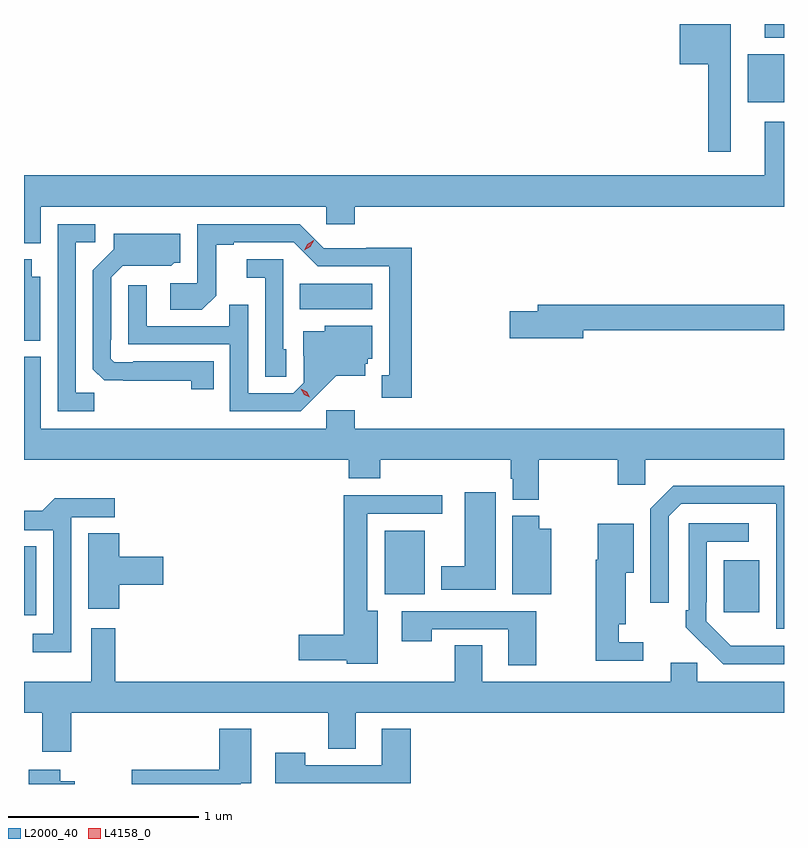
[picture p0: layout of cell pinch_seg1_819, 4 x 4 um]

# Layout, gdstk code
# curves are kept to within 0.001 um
import gdstk
lib = gdstk.Library(unit=1e-6, precision=1e-09)
def R(c, l, rs):  # rectangles x0, y0, x1, y1
    for r in rs: c.add(gdstk.rectangle(r[:2], r[2:], *l))
def P(c, l, *ps):  # polygons
    for p in ps: c.add(gdstk.Polygon(p, *l))
L2000_40 = (2000, 40)
L4158_0 = (4158, 0)

pinch_seg1_819 = lib.new_cell('pinch_seg1_819')
R(pinch_seg1_819, L2000_40, [(482.682,566.898,482.746,567.26), (486.365,566.913,486.553,567.187), (484.58,567.008,484.792,567.343), (484.132,568.508,484.516,568.642), (486.491,569.597,486.682,569.851), (486.581,569.936,486.682,570.009)])
P(pinch_seg1_819, L2000_40, [(486.403,570.009),(486.134,570.009),(486.134,569.798),(486.282,569.798),(486.282,569.337),(486.403,569.337)],
  [(482.77,569.048),(484.272,569.048),(484.272,568.955),(484.424,568.955),(484.424,569.048),(486.682,569.048),(486.682,569.494),(486.581,569.494),(486.581,569.212),(482.682,569.212),(482.682,568.856),(482.77,568.856)],
  [(483.051,568.067),(482.955,568.067),(482.955,568.86),(483.058,568.86),(483.058,568.956),(482.859,568.956),(482.859,567.972),(483.051,567.972)],
  [(484.723,568.832),(484.482,568.832),(484.482,568.83),(484.26,568.83),(484.134,568.956),(483.594,568.956),(483.594,568.644),(483.453,568.644),(483.453,568.504),(483.617,568.504),(483.693,568.58),(483.693,568.848),(483.787,568.848),(483.787,568.86),(484.101,568.86),(484.227,568.734),(484.604,568.734),(484.604,568.161),(484.565,568.161),(484.565,568.041),(484.723,568.041)],
  [(483.68,568.233),(483.256,568.233),(483.256,568.23),(483.156,568.23),(483.138,568.248),(483.138,568.348),(483.141,568.348),(483.141,568.677),(483.201,568.737),(483.458,568.736),(483.474,568.752),(483.505,568.752),(483.505,568.906),(483.155,568.906),(483.155,568.824),(483.045,568.714),(483.045,568.192),(483.104,568.133),(483.562,568.132),(483.562,568.086),(483.68,568.086)],
  [(482.767,568.678),(482.722,568.678),(482.722,568.771),(482.682,568.771),(482.682,568.343),(482.767,568.343)],
  [(484.062,568.296),(484.047,568.296),(484.047,568.77),(483.855,568.77),(483.855,568.673),(483.951,568.673),(483.951,568.153),(484.062,568.153)],
  [(484.222,568.055),(484.325,568.157),(484.477,568.157),(484.477,568.221),(484.491,568.221),(484.491,568.248),(484.516,568.248),(484.516,568.42),(484.266,568.42),(484.266,568.393),(484.151,568.393),(484.151,568.264),(484.155,568.264),(484.155,568.122),(484.098,568.065),(483.861,568.065),(483.861,568.532),(483.763,568.532),(483.763,568.419),(483.327,568.419),(483.327,568.633),(483.231,568.633),(483.231,568.323),(483.765,568.323),(483.765,567.972),(484.138,567.972)],
  [(485.626,568.396),(486.682,568.396),(486.682,568.532),(485.387,568.532),(485.387,568.496),(485.238,568.496),(485.238,568.354),(485.626,568.354)],
  [(485.391,567.716),(485.806,567.716),(485.806,567.585),(485.952,567.585),(485.952,567.716),(486.682,567.716),(486.682,567.88),(484.424,567.88),(484.424,567.976),(484.272,567.976),(484.272,567.88),(482.77,567.88),(482.77,568.258),(482.682,568.258),(482.682,567.716),(484.391,567.716),(484.391,567.617),(484.556,567.617),(484.556,567.716),(485.243,567.716),(485.243,567.615),(485.255,567.615),(485.255,567.505),(485.391,567.505)],
  [(486.682,567.58),(486.1,567.58),(485.979,567.459),(485.979,566.964),(486.075,566.964),(486.075,567.417),(486.141,567.483),(486.641,567.483),(486.641,567.283),(486.642,567.283),(486.642,566.826),(486.682,566.826)],
  [(485.164,567.544),(485.003,567.544),(485.003,567.154),(484.877,567.154),(484.877,567.032),(485.164,567.032)],
  [(484.543,566.92),(484.489,566.92),(484.489,567.432),(484.882,567.432),(484.882,567.53),(484.364,567.53),(484.364,566.795),(484.128,566.795),(484.128,566.66),(484.38,566.66),(484.38,566.642),(484.543,566.642)],
  [(482.931,567.414),(483.16,567.414),(483.16,567.512),(482.843,567.512),(482.777,567.446),(482.682,567.446),(482.682,567.345),(482.835,567.345),(482.835,566.799),(482.727,566.799),(482.727,566.702),(482.931,566.702)],
  [(485.458,567.352),(485.394,567.352),(485.394,567.42),(485.252,567.42),(485.252,567.008),(485.458,567.008)],
  [(486.682,566.736),(486.402,566.737),(486.273,566.865),(486.273,566.965),(486.276,566.965),(486.276,567.285),(486.496,567.285),(486.496,567.381),(486.18,567.381),(486.18,566.923),(486.165,566.923),(486.165,566.835),(486.362,566.64),(486.682,566.64)],
  [(485.941,566.754),(485.812,566.754),(485.812,566.849),(485.848,566.849),(485.848,567.122),(485.89,567.122),(485.89,567.379),(485.702,567.379),(485.702,567.189),(485.69,567.189),(485.69,566.953),(485.691,566.953),(485.691,566.658),(485.941,566.658)],
  [(483.182,567.059),(483.415,567.059),(483.415,567.206),(483.182,567.206),(483.182,567.329),(483.02,567.329),(483.02,566.931),(483.182,566.931)],
  [(485.379,566.919),(484.671,566.919),(484.671,566.76),(484.827,566.76),(484.827,566.823),(485.231,566.823),(485.231,566.634),(485.379,566.634)],
  [(482.93,566.384),(484.282,566.384),(484.282,566.194),(484.429,566.194),(484.429,566.384),(486.682,566.384),(486.682,566.548),(486.225,566.548),(486.225,566.646),(486.086,566.646),(486.086,566.548),(485.095,566.548),(485.095,566.738),(484.948,566.738),(484.948,566.548),(483.161,566.548),(483.161,566.83),(483.035,566.83),(483.035,566.548),(482.682,566.548),(482.682,566.384),(482.777,566.384),(482.777,566.178),(482.93,566.178)],
  [(484.718,566.299),(484.565,566.299),(484.565,566.109),(484.161,566.109),(484.161,566.173),(484.005,566.173),(484.005,566.013),(484.718,566.013)],
  [(483.823,566.012),(483.877,566.012),(483.877,566.299),(483.71,566.299),(483.71,566.083),(483.248,566.083),(483.248,566.009),(483.823,566.009)],
  [(482.95,566.023),(482.874,566.023),(482.874,566.083),(482.708,566.083),(482.708,566.009),(482.95,566.009)])
P(pinch_seg1_819, L4158_0, [(484.157,568.817),(484.157,568.817),(484.174,568.85),(484.206,568.87),(484.206,568.87),(484.206,568.869),(484.189,568.837),(484.158,568.817)],
  [(484.187,568.045),(484.156,568.059),(484.138,568.088),(484.138,568.089),(484.139,568.089),(484.17,568.074),(484.187,568.045),(484.187,568.045)])

lib.write_gds('pinch_seg1_819.gds')
